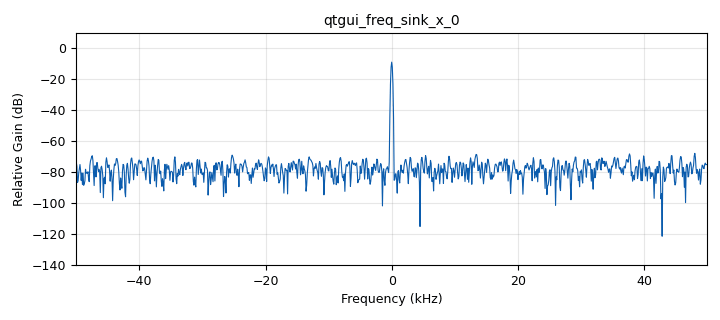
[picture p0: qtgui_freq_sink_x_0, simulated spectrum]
options:
  parameters:
    author: Stefano Speretta
    generate_options: qt_gui
    id: residual_carrier
    output_language: python
    title: Residual Carrier
  states: {}

blocks:
- name: frequency
  id: variable_qtgui_range
  parameters:
    label: Center frequency (Hz)
    orient: Qt.Horizontal
    start: '-10e3'
    step: '100'
    stop: 10e3
    value: '0'
  states: {}
- name: modulation_coeff
  id: variable_qtgui_range
  parameters:
    label: Modulation Coefficent
    orient: Qt.Horizontal
    start: '0'
    step: '0.1'
    stop: '1.4'
    value: '0'
    widget: counter
  states: {}
- name: samp_rate
  id: variable
  parameters:
    value: '100000'
  states: {}
- name: snr
  id: variable_qtgui_range
  parameters:
    label: SNR (dB)
    orient: Qt.Horizontal
    start: '-20'
    step: '1'
    stop: '50'
    value: '20'
  states: {}
- name: subcarrier
  id: variable_qtgui_range
  parameters:
    label: Subcarrier Frequency (Hz)
    orient: Qt.Horizontal
    start: '1000'
    step: '1000'
    stop: '20000'
    value: '4000'
    widget: counter
  states: {}
- name: sweep_range
  id: variable_qtgui_range
  parameters:
    label: Sweep Range (Hz)
    orient: Qt.Horizontal
    start: '0'
    step: 1e3
    stop: 50e3
    value: '0'
  states: {}
- name: sweep_rate
  id: variable_qtgui_range
  parameters:
    label: Sweep rate (Hz/s)
    orient: Qt.Horizontal
    start: 1e2
    step: '100'
    stop: 50e3
    value: 1e2
  states: {}
- name: analog_noise_source_x_0
  id: analog_noise_source_x
  parameters:
    amp: 10**(-snr/10)
    noise_type: analog.GR_GAUSSIAN
    seed: '0'
    type: complex
  states: {}
- name: analog_phase_modulator_fc_0
  id: analog_phase_modulator_fc
  parameters:
    sensitivity: '1'
  states: {}
- name: analog_sig_source_x_2_0
  id: analog_sig_source_x
  parameters:
    amp: modulation_coeff
    freq: subcarrier
    offset: '0'
    phase: '0'
    samp_rate: samp_rate
    type: float
    waveform: analog.GR_SIN_WAVE
  states: {}
- name: analog_sig_source_x_2_1
  id: analog_sig_source_x
  parameters:
    amp: 2*3.14159265359*sweep_range
    freq: 0 if sweep_range == 0 else sweep_rate/sweep_range
    offset: 2*3.14159265359*frequency
    phase: '-3.14159265359'
    samp_rate: samp_rate
    type: float
    waveform: analog.GR_TRI_WAVE
  states: {}
- name: blocks_add_xx_1
  id: blocks_add_xx
  parameters:
    type: complex
  states: {}
- name: blocks_multiply_xx_0
  id: blocks_multiply_xx
  parameters:
    type: complex
  states: {}
- name: blocks_throttle_0
  id: blocks_throttle
  parameters:
    samples_per_second: samp_rate
    type: float
  states: {}
- name: blocks_vco_c_0
  id: blocks_vco_c
  parameters:
    amplitude: '1'
    samp_rate: samp_rate
    sensitivity: '1'
  states: {}
- name: qtgui_freq_sink_x_0
  id: qtgui_freq_sink_x
  parameters:
    bw: samp_rate
    fc: '0'
    fftsize: '1024'
    type: complex
    wintype: firdes.WIN_BLACKMAN_hARRIS
  states: {}

connections:
- [analog_noise_source_x_0, '0', blocks_add_xx_1, '1']
- [analog_phase_modulator_fc_0, '0', blocks_multiply_xx_0, '0']
- [analog_sig_source_x_2_0, '0', blocks_throttle_0, '0']
- [analog_sig_source_x_2_1, '0', blocks_vco_c_0, '0']
- [blocks_add_xx_1, '0', qtgui_freq_sink_x_0, '0']
- [blocks_multiply_xx_0, '0', blocks_add_xx_1, '0']
- [blocks_throttle_0, '0', analog_phase_modulator_fc_0, '0']
- [blocks_vco_c_0, '0', blocks_multiply_xx_0, '1']

metadata:
  file_format: 1
